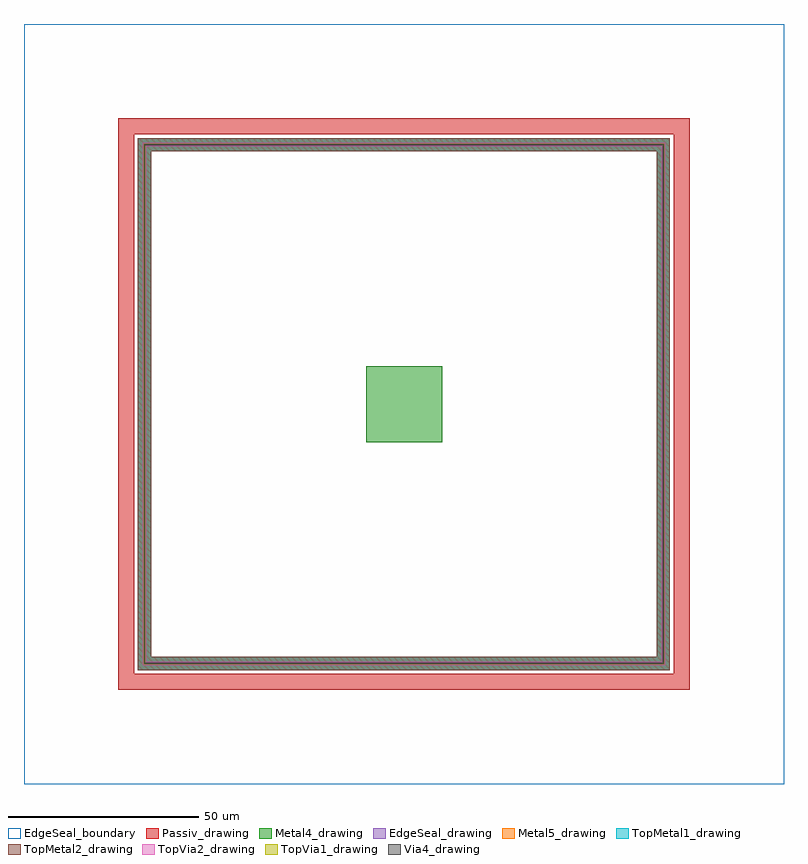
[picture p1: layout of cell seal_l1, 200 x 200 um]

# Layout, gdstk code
import gdstk
lib = gdstk.Library(unit=1e-6, precision=1e-09)
def R(c, l, rs):  # rectangles x0, y0, x1, y1
    for r in rs: c.add(gdstk.rectangle(r[:2], r[2:], *l))
def P(c, l, *ps):  # polygons
    for p in ps: c.add(gdstk.Polygon(p, *l))
Passiv_drawing = (9, 0)
EdgeSeal_drawing = (39, 0)
EdgeSeal_boundary = (39, 4)
Metal4_drawing = (50, 0)
Via4_drawing = (66, 0)
Metal5_drawing = (67, 0)
TopVia1_drawing = (125, 0)
TopMetal1_drawing = (126, 0)
TopVia2_drawing = (133, 0)
TopMetal2_drawing = (134, 0)

seal_l1 = lib.new_cell('seal_l1')
P(seal_l1, Passiv_drawing, [(24.795,24.8),(24.795,171),(28.995,171),(28.995,29),(170.995,29),(170.995,171),(24.795,171),(24.795,175.2),(175.195,175.2),(175.195,24.8)])
P(seal_l1, EdgeSeal_drawing, [(29.995,30),(29.995,166.5),(33.495,166.5),(33.495,33.5),(166.495,33.5),(166.495,166.5),(29.995,166.5),(29.995,170),(169.995,170),(169.995,30)])
R(seal_l1, EdgeSeal_boundary, [(0,0,200,200)])
R(seal_l1, Metal4_drawing, [(90,90,110,110)])
P(seal_l1, Metal4_drawing, [(29.995,30),(29.995,166.5),(33.495,166.5),(33.495,33.5),(166.495,33.5),(166.495,166.5),(29.995,166.5),(29.995,170),(169.995,170),(169.995,30)])
P(seal_l1, Via4_drawing, [(31.65,31.655),(31.65,168.155),(31.84,168.155),(31.84,31.845),(168.15,31.845),(168.15,168.155),(31.65,168.155),(31.65,168.345),(168.34,168.345),(168.34,31.655)])
P(seal_l1, Metal5_drawing, [(29.995,30),(29.995,166.5),(33.495,166.5),(33.495,33.5),(166.495,33.5),(166.495,166.5),(29.995,166.5),(29.995,170),(169.995,170),(169.995,30)])
P(seal_l1, TopVia1_drawing, [(31.535,31.54),(31.535,168.04),(31.955,168.04),(31.955,31.96),(168.035,31.96),(168.035,168.04),(31.535,168.04),(31.535,168.46),(168.455,168.46),(168.455,31.54)])
P(seal_l1, TopMetal1_drawing, [(29.995,30),(29.995,166.5),(33.495,166.5),(33.495,33.5),(166.495,33.5),(166.495,166.5),(29.995,166.5),(29.995,170),(169.995,170),(169.995,30)])
P(seal_l1, TopVia2_drawing, [(31.295,31.3),(31.295,167.8),(32.195,167.8),(32.195,32.2),(167.795,32.2),(167.795,167.8),(31.295,167.8),(31.295,168.7),(168.695,168.7),(168.695,31.3)])
P(seal_l1, TopMetal2_drawing, [(29.995,30),(29.995,166.5),(33.495,166.5),(33.495,33.5),(166.495,33.5),(166.495,166.5),(29.995,166.5),(29.995,170),(169.995,170),(169.995,30)])

lib.write_gds('seal_l1.gds')
